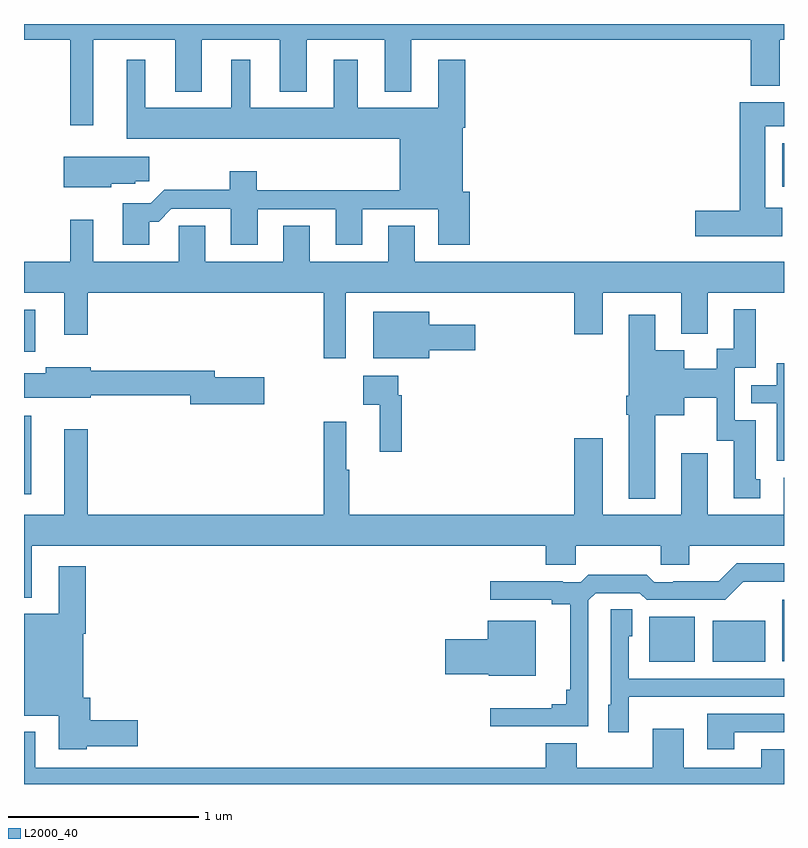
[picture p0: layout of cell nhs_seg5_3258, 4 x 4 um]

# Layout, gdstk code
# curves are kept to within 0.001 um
import gdstk
lib = gdstk.Library(unit=1e-6, precision=1e-09)
def R(c, l, rs):  # rectangles x0, y0, x1, y1
    for r in rs: c.add(gdstk.rectangle(r[:2], r[2:], *l))
def P(c, l, *ps):  # polygons
    for p in ps: c.add(gdstk.Polygon(p, *l))
L2000_40 = (2000, 40)

nhs_seg5_3258 = lib.new_cell('nhs_seg5_3258')
R(nhs_seg5_3258, L2000_40, [(302.291,897.443,302.53,897.679), (302.624,897.443,302.902,897.658), (302.991,897.444,303,897.769), (299,898.323,299.038,898.738), (299,899.075,299.059,899.296), (302.99,899.942,303,900.172)])
P(nhs_seg5_3258, L2000_40, [(299.365,900.716),(299.795,900.716),(299.795,900.443),(299.935,900.443),(299.935,900.716),(300.347,900.716),(300.347,900.443),(300.487,900.443),(300.487,900.716),(300.899,900.716),(300.899,900.443),(301.039,900.443),(301.039,900.716),(302.825,900.716),(302.825,900.473),(302.977,900.473),(302.977,900.716),(303,900.716),(303,900.799),(299,900.799),(299,900.716),(299.244,900.716),(299.244,900.267),(299.365,900.267)],
  [(299.659,899.759),(299.708,899.759),(299.775,899.826),(300.089,899.826),(300.089,899.637),(300.229,899.637),(300.229,899.823),(300.641,899.823),(300.641,899.637),(300.781,899.637),(300.781,899.823),(301.181,899.823),(301.181,899.637),(301.346,899.637),(301.346,899.916),(301.309,899.916),(301.309,900.254),(301.322,900.254),(301.322,900.61),(301.181,900.61),(301.181,900.358),(300.757,900.358),(300.757,900.61),(300.629,900.61),(300.629,900.358),(300.19,900.358),(300.19,900.61),(300.092,900.61),(300.092,900.358),(299.638,900.358),(299.638,900.61),(299.54,900.61),(299.54,900.194),(300.977,900.194),(300.977,899.924),(300.224,899.924),(300.224,900.025),(300.082,900.025),(300.082,899.927),(299.738,899.927),(299.667,899.856),(299.519,899.856),(299.519,899.637),(299.659,899.637)],
  [(302.992,899.833),(302.902,899.833),(302.902,900.26),(303,900.26),(303,900.388),(302.768,900.388),(302.768,899.816),(302.532,899.816),(302.532,899.681),(302.992,899.681)],
  [(299.46,899.957),(299.586,899.957),(299.586,899.971),(299.659,899.971),(299.659,900.1),(299.21,900.1),(299.21,899.939),(299.46,899.939)],
  [(300.365,899.738),(300.365,899.548),(299.953,899.548),(299.953,899.738),(299.814,899.738),(299.814,899.548),(299.365,899.548),(299.365,899.77),(299.244,899.77),(299.244,899.548),(299,899.548),(299,899.384),(299.213,899.384),(299.213,899.163),(299.335,899.163),(299.335,899.384),(300.577,899.384),(300.577,899.04),(300.694,899.04),(300.694,899.384),(301.895,899.384),(301.895,899.166),(302.047,899.166),(302.047,899.384),(302.459,899.384),(302.459,899.168),(302.599,899.168),(302.599,899.384),(303,899.384),(303,899.548),(301.057,899.548),(301.057,899.738),(300.917,899.738),(300.917,899.548),(300.505,899.548),(300.505,899.738)],
  [(302.323,898.739),(302.476,898.739),(302.476,898.832),(302.646,898.832),(302.646,898.605),(302.735,898.605),(302.735,898.302),(302.875,898.302),(302.875,898.404),(302.851,898.404),(302.851,898.713),(302.742,898.713),(302.742,898.989),(302.851,898.989),(302.851,899.299),(302.735,899.299),(302.735,899.09),(302.645,899.09),(302.645,898.984),(302.476,898.984),(302.476,899.083),(302.323,899.083),(302.323,899.269),(302.183,899.269),(302.183,898.843),(302.171,898.843),(302.171,898.743),(302.183,898.743),(302.183,898.301),(302.323,898.301)],
  [(301.132,899.081),(301.375,899.081),(301.375,899.215),(301.132,899.215),(301.132,899.284),(300.839,899.284),(300.839,899.039),(301.132,899.039)],
  [(303,899.013),(302.961,899.013),(302.961,898.899),(302.827,898.899),(302.827,898.803),(302.961,898.803),(302.961,898.5),(303,898.5)],
  [(300.265,898.941),(300.004,898.941),(300.004,898.975),(299.35,898.975),(299.35,898.993),(299.114,898.993),(299.114,898.961),(299,898.961),(299,898.832),(299.35,898.832),(299.35,898.846),(299.876,898.846),(299.876,898.799),(300.265,898.799)],
  [(300.989,898.844),(300.969,898.844),(300.969,898.948),(300.786,898.948),(300.786,898.796),(300.872,898.796),(300.872,898.548),(300.989,898.548)],
  [(299.041,898.052),(301.745,898.052),(301.745,897.954),(301.905,897.954),(301.905,898.052),(302.35,898.052),(302.35,897.954),(302.5,897.954),(302.5,898.052),(303,898.052),(303,898.411),(302.999,898.411),(302.999,898.216),(302.599,898.216),(302.599,898.54),(302.459,898.54),(302.459,898.216),(302.047,898.216),(302.047,898.618),(301.895,898.618),(301.895,898.216),(300.713,898.216),(300.713,898.452),(300.695,898.452),(300.695,898.705),(300.577,898.705),(300.577,898.216),(299.335,898.216),(299.335,898.666),(299.213,898.666),(299.213,898.216),(299,898.216),(299,897.779),(299.041,897.779)],
  [(301.971,897.765),(302.01,897.804),(302.241,897.804),(302.277,897.768),(302.691,897.768),(302.786,897.863),(303,897.864),(303,897.96),(302.751,897.96),(302.657,897.866),(302.416,897.866),(302.416,897.861),(302.316,897.861),(302.277,897.901),(301.969,897.901),(301.929,897.861),(301.835,897.861),(301.835,897.866),(301.455,897.866),(301.455,897.768),(301.778,897.768),(301.778,897.746),(301.874,897.746),(301.874,897.295),(301.855,897.295),(301.855,897.218),(301.778,897.218),(301.778,897.199),(301.455,897.199),(301.455,897.102),(301.971,897.102)],
  [(299.331,896.999),(299.599,896.999),(299.599,897.134),(299.348,897.134),(299.348,897.252),(299.311,897.252),(299.311,897.59),(299.324,897.59),(299.324,897.946),(299.183,897.946),(299.183,897.694),(299,897.694),(299,897.159),(299.183,897.159),(299.183,896.981),(299.331,896.981)],
  [(302.184,897.257),(302.501,897.257),(302.501,897.258),(303,897.258),(303,897.354),(302.184,897.354),(302.184,897.576),(302.2,897.576),(302.2,897.719),(302.088,897.719),(302.088,897.216),(302.075,897.216),(302.075,897.072),(302.184,897.072)],
  [(301.693,897.658),(301.442,897.658),(301.442,897.56),(301.218,897.56),(301.218,897.377),(301.446,897.377),(301.446,897.368),(301.693,897.368)],
  [(302.737,897.072),(303,897.072),(303,897.168),(302.597,897.168),(302.597,896.982),(302.737,896.982)],
  [(303,896.983),(302.879,896.983),(302.879,896.884),(302.473,896.884),(302.473,897.091),(302.309,897.091),(302.309,896.884),(301.909,896.884),(301.909,897.013),(301.745,897.013),(301.745,896.884),(299.059,896.884),(299.059,897.074),(299,897.074),(299,896.799),(303,896.799)])

lib.write_gds('nhs_seg5_3258.gds')
